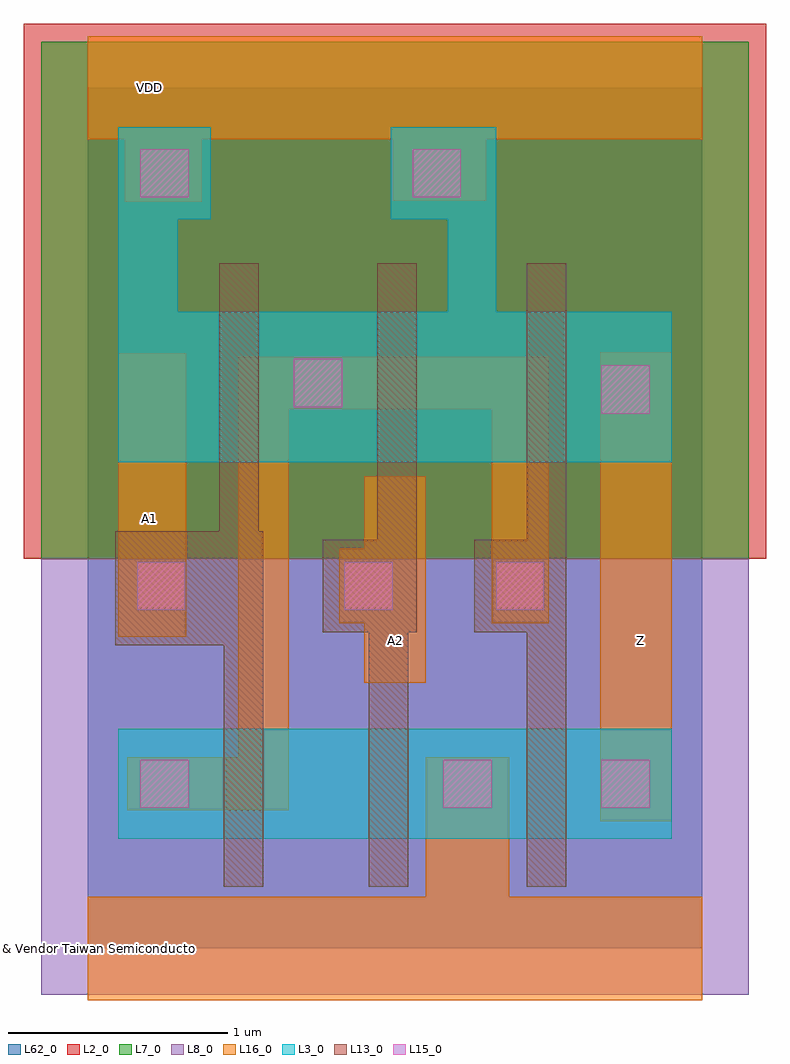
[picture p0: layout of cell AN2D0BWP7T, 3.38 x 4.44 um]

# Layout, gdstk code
import gdstk
lib = gdstk.Library(unit=1e-6, precision=1e-09)
def R(c, l, rs):  # rectangles x0, y0, x1, y1
    for r in rs: c.add(gdstk.rectangle(r[:2], r[2:], *l))
def P(c, l, *ps):  # polygons
    for p in ps: c.add(gdstk.Polygon(p, *l))
L2_0 = (2, 0)
L3_0 = (3, 0)
L7_0 = (7, 0)
L8_0 = (8, 0)
L13_0 = (13, 0)
L15_0 = (15, 0)
L16_0 = (16, 0)
L62_0 = (62, 0)

an2d0bwp7t = lib.new_cell('AN2D0BWP7T')
R(an2d0bwp7t, L2_0, [(-0.29,1.775,3.09,4.21)])
R(an2d0bwp7t, L3_0, [(0.14,0.5,2.66,1)])
P(an2d0bwp7t, L3_0, [(0.14,2.215),(0.14,3.74),(0.56,3.74),(0.56,3.32),(0.41,3.32),(0.41,2.9),(1.64,2.9),(1.64,3.32),(1.38,3.32),(1.38,3.74),(1.86,3.74),(1.86,2.9),(2.66,2.9),(2.66,2.215)])
R(an2d0bwp7t, L7_0, [(-0.21,1.775,3.01,4.13)])
R(an2d0bwp7t, L8_0, [(-0.21,-0.21,3.01,1.775)])
P(an2d0bwp7t, L13_0, [(1.28,0.28),(1.28,1.44),(1.07,1.44),(1.07,1.86),(1.32,1.86),(1.32,3.12),(1.5,3.12),(1.5,1.44),(1.46,1.44),(1.46,0.28)],
  [(0.62,0.28),(0.62,1.38),(0.125,1.38),(0.125,1.9),(0.6,1.9),(0.6,3.12),(0.78,3.12),(0.78,1.9),(0.8,1.9),(0.8,0.28)],
  [(2,0.28),(2,1.44),(1.76,1.44),(1.76,1.86),(2,1.86),(2,3.12),(2.18,3.12),(2.18,0.28)])
R(an2d0bwp7t, L15_0, [(0.24,0.64,0.46,0.86), (1.62,0.64,1.84,0.86), (2.34,0.64,2.56,0.86), (0.225,1.54,0.445,1.76), (1.17,1.54,1.39,1.76), (1.86,1.54,2.08,1.76), (2.34,2.435,2.56,2.655), (0.94,2.465,1.16,2.685), (0.24,3.42,0.46,3.64), (1.48,3.42,1.7,3.64)])
R(an2d0bwp7t, L16_0, [(2.335,0.58,2.66,2.715), (0.14,1.42,0.45,2.71)])
P(an2d0bwp7t, L16_0, [(0,-0.235),(0,0.235),(1.54,0.235),(1.54,0.87),(1.92,0.87),(1.92,0.235),(2.8,0.235),(2.8,-0.235)],
  [(0.17,3.4),(0.17,3.685),(0,3.685),(0,4.155),(2.8,4.155),(2.8,3.685),(1.815,3.685),(1.815,3.405),(1.39,3.405),(1.39,3.685),(0.52,3.685),(0.52,3.4)],
  [(0.18,0.63),(0.18,0.87),(0.685,0.87),(0.685,2.695),(2.1,2.695),(2.1,1.48),(1.84,1.48),(1.84,2.455),(0.915,2.455),(0.915,0.63)],
  [(1.26,1.21),(1.26,1.48),(1.145,1.48),(1.145,1.82),(1.26,1.82),(1.26,2.15),(1.54,2.15),(1.54,1.21)])
R(an2d0bwp7t, L62_0, [(0,0,2.8,3.92)])
an2d0bwp7t.add(gdstk.Label('& Vendor Taiwan Semiconductor Manufacturing Corp.', (0,0), layer=63, texttype=63))
an2d0bwp7t.add(gdstk.Label('& Product tcb018gbwp7t', (0,0), layer=63, texttype=63))
an2d0bwp7t.add(gdstk.Label('& Version 270a', (0,0), layer=63, texttype=63))
an2d0bwp7t.add(gdstk.Label('& Metric 10.976', (0,0), layer=63, texttype=63))
an2d0bwp7t.add(gdstk.Label('& Distributor TSMC', (0,0), layer=63, texttype=63))
an2d0bwp7t.add(gdstk.Label('& SerialNumber 000000', (0,0), layer=63, texttype=63))
an2d0bwp7t.add(gdstk.Label('& _Instance_tag AN2D0BWP7T', (0,0), layer=63, texttype=63))
an2d0bwp7t.add(gdstk.Label('& Vendor Taiwan Semiconductor Manufacturing Corp.', (0,0), layer=11, texttype=0))
an2d0bwp7t.add(gdstk.Label('& Product tcb018gbwp7t', (0,0), layer=11, texttype=0))
an2d0bwp7t.add(gdstk.Label('& Version 270a', (0,0), layer=11, texttype=0))
an2d0bwp7t.add(gdstk.Label('& Metric 10.976', (0,0), layer=11, texttype=0))
an2d0bwp7t.add(gdstk.Label('& Distributor TSMC', (0,0), layer=11, texttype=0))
an2d0bwp7t.add(gdstk.Label('& SerialNumber 000000', (0,0), layer=11, texttype=0))
an2d0bwp7t.add(gdstk.Label('& _Instance_tag AN2D0BWP7T', (0,0), layer=11, texttype=0))
an2d0bwp7t.add(gdstk.Label('AN2D0BWP7T', (0,0), layer=59, texttype=0))
an2d0bwp7t.add(gdstk.Label('VSS', (0.28,0), layer=40, texttype=0))
an2d0bwp7t.add(gdstk.Label('VDD', (0.28,3.92), layer=40, texttype=0))
an2d0bwp7t.add(gdstk.Label('A2', (1.4,1.4), layer=40, texttype=0))
an2d0bwp7t.add(gdstk.Label('Z', (2.52,1.4), layer=40, texttype=0))
an2d0bwp7t.add(gdstk.Label('A1', (0.28,1.96), layer=40, texttype=0))

lib.write_gds('AN2D0BWP7T.gds')
